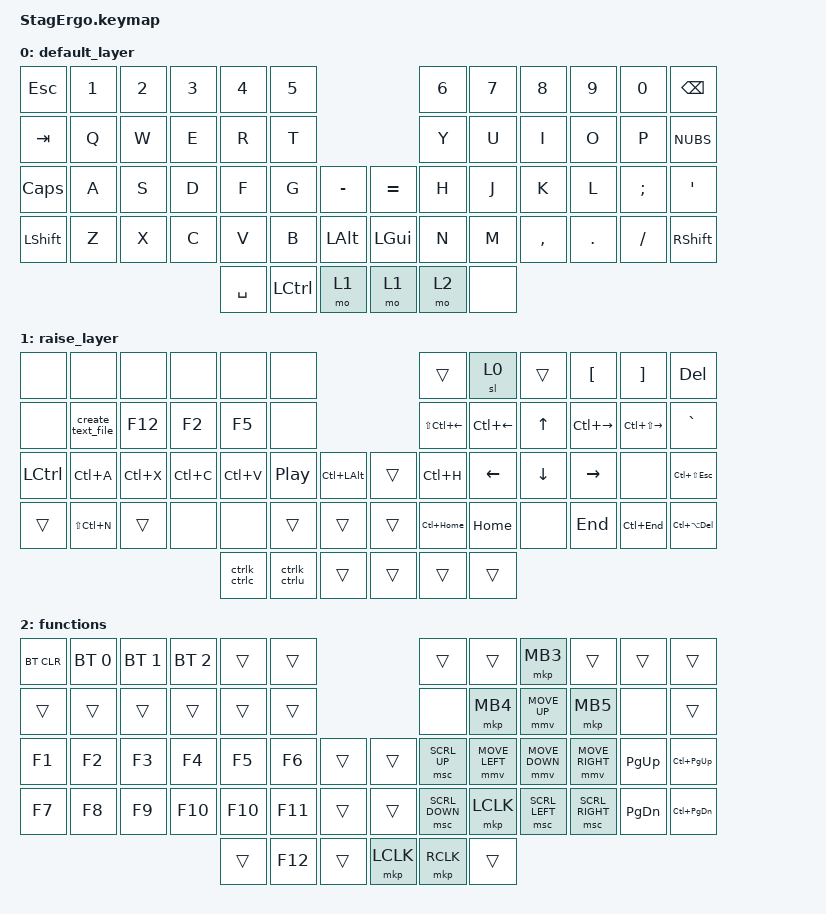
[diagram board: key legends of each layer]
/*
 * Copyright (c) 2020 The ZMK Contributors
 *
 * SPDX-License-Identifier: MIT
 */

#define ZMK_POINTING_DEFAULT_MOVE_VAL 1100
#define ZMK_POINTING_DEFAULT_SCRL_VAL 13

#include <behaviors.dtsi>
#include <dt-bindings/zmk/bt.h>
#include <dt-bindings/zmk/keys.h>
#include <dt-bindings/zmk/pointing.h>

&mmv {
    acceleration-exponent = <1>;
    time-to-max-speed-ms = <1000>;
};

/ {
    combos {
        compatible = "zmk,combos";

        left_enter {
            bindings = <&L2_If_held_otw_ent 2 ENTER>;
            key-positions = <28 27>;
        };

        right_enter_mid {
            bindings = <&kp RET>;
            key-positions = <33 34>;
        };

        altf4 {
            bindings = <&kp LA(F4)>;
            key-positions = <54 27 28>;
        };

        RaiseLayer1 {
            bindings = <&mo 1>;
            key-positions = <43 42>;
        };

        RaiseLayer1_1 {
            bindings = <&mo 1>;
            key-positions = <19 20>;
        };

        right_Space {
            bindings = <&kp SPACE>;
            key-positions = <34 35>;
        };
    };

    macros {
        create_text_file: create_text_file {
            compatible = "zmk,behavior-macro";
            #binding-cells = <0>;
            bindings = <&kp LS(F10) &kp W &kp T>;
            label = "CREATE_TEXT_FILE";
        };

        ctrlk_ctrlc: ctrlk_ctrlc {
            compatible = "zmk,behavior-macro";
            #binding-cells = <0>;
            bindings = <&kp LC(K) &kp LC(C)>;
            label = "CTRLK_CTRLC";
        };
    };

    keymap {
        compatible = "zmk,keymap";

        default_layer {
            // ------------------------------------------------------------------------------------------------------------
            // |  ESC    |  1   |  2    |  3   |  4    |  5       |                    |  6       |  7    |  8      |  9    |   0    |   bsp    |
            // |  TAB    |  Q   |  W    |  E   |  R    |  T       |                    |  Y       |  U    |  I      |  O    |   P    |   \ |    |
            // |  CAPS   |  A   |  S    |  D   |  F    |  G       |   - _   ||  + =    |  H       |  J    |  K      |  L    |   ; :  |   ' "    |
            // | SHIFT   |  Z   |  X    |  C   |  V    |  B       |   ALT   ||  WIN    |  N       |  M    |  , <    |  . >  |   / ?  | SHIFT    |
            //                                 | LOWER | SPACE    |   CTL   || ENTER   | SPACE    |  RAISE|                                     

            bindings = <
&kp ESC    &kp N1  &kp N2  &kp N3  &kp N4     &kp N5                           &kp N6  &kp N7  &kp N8     &kp N9   &kp N0    &kp BSPC
&kp TAB    &kp Q   &kp W   &kp E   &kp R      &kp T                            &kp Y   &kp U   &kp I      &kp O    &kp P     &kp NUBS
&kp CAPS   &kp A   &kp S   &kp D   &kp F      &kp G      &kp MINUS  &kp EQUAL  &kp H   &kp J   &kp K      &kp L    &kp SEMI  &kp SQT
&kp LSHFT  &kp Z   &kp X   &kp C   &kp V      &kp B      &kp LALT   &kp LGUI   &kp N   &kp M   &kp COMMA  &kp DOT  &kp FSLH  &kp RSHFT
                                   &kp SPACE  &kp LCTRL  &mo 1      &mo 1      &mo 2   &none
            >;
        };

        //        lower_layer {
        // ------------------------------------------------------------------------------------------------------------
        // | BTCLR    | BT1        | BT2        |  BT3       |  BT4       |  BT5      |                   |           |         |         |         |         |       |
        // |  F1      |  F2        |  F3        |  F4        |  F5        |  F6       |                   |  F7       |  F8     |  F9     |  F10    |  F11    |  F12  |
        // |   `      |  !         |  @         |  #         |  $         |  %        |        ||         |  ^        |  &      |  *      |  (      |   )     |   ~   |
        // |          |            |            |            |            |           |        ||         |           |  _      |  +      |  {      |   }     |  "|"  |
        //                                                   |            |           |        ||         |           |         |                                        
        //            bindings = <
        //    &bt BT_CLR &bt BT_SEL 0 &bt BT_SEL 1 &bt BT_SEL 2 &bt BT_SEL 3 &bt BT_SEL 4                    &trans    &trans    &trans    &trans    &trans    &trans
        //    &kp F1     &kp F2       &kp F3       &kp F4       &kp F5       &kp F6                          &kp F7    &kp F8    &kp F9    &kp F10   &kp F11   &kp F12
        //    &kp GRAVE  &kp EXCL     &kp AT       &kp HASH     &kp DOLLAR   &kp PRCNT   &trans    &trans    &kp CARET &kp AMPS  &kp ASTRK &kp LPAR  &kp RPAR  &kp TILDE
        //    &trans     &trans       &trans       &trans       &trans       &trans      &trans    &trans    &trans    &kp MINUS &kp PLUS  &kp LBRC  &kp RBRC  &kp PIPE
        //                                                      &trans       &trans      &trans    &trans    &trans    &trans
        //            >;
        //        };

        raise_layer {
            // ------------------------------------------------------------------------------------------------------------
            // | btclr |  btsel0    |  btsel1    |       |       |         |                |           |               |         |                |         |  DELETE |
            // |       |            |            |       |       |         |                |  PG_UP    |   HOME        |   ^     |  END           |   [{    |   }]    |
            // |   F1  |  F2        |  F3        |  F4   |  F5   |  F6     |      | |       |  PG_DN    |   <-          |   v     |  ->            |         |         |
            // |   F7  |  F8        |  F9        |  F10  |  F11  |  F12    |      | |       |           |   LWRD        |         |  RWRD          |         |         |
            //                                           |       |         |      | |       |           |               |                                               

            bindings = <
&none      &none              &none      &none      &none         &none                                       &trans            &sl 0         &trans    &kp LEFT_BRACKET  &kp RIGHT_BRACKET  &kp DEL
&none      &create_text_file  &kp F12    &kp F2     &kp F5        &none                                       &kp LS(LC(LEFT))  &kp LC(LEFT)  &kp UP    &kp LC(RIGHT)     &kp LC(LS(RIGHT))  &kp GRAVE
&kp LCTRL  &kp LC(A)          &kp LC(X)  &kp LC(C)  &kp LC(V)     &kp C_PLAY_PAUSE  &kp LC(LEFT_ALT)  &trans  &kp LC(H)         &kp LEFT      &kp DOWN  &kp RIGHT         &none              &kp LC(LS(ESCAPE))
&trans     &kp LS(LC(N))      &trans     &none      &none         &trans            &trans            &trans  &kp LC(HOME)      &kp HOME      &none     &kp END           &kp LC(END)        &kp LC(LA(DEL))
                                                    &ctrlk_ctrlc  &ctrlk_ctrlu      &trans            &trans  &trans            &trans
            >;
        };

        functions {
            bindings = <
&bt BT_CLR  &bt BT_SEL 0  &bt BT_SEL 1  &bt BT_SEL 2  &trans   &trans                      &trans          &trans          &mkp MB3        &trans           &trans         &trans
&trans      &trans        &trans        &trans        &trans   &trans                      &none           &mkp MB4        &mmv MOVE_UP    &mkp MB5         &none          &trans
&kp F1      &kp F2        &kp F3        &kp F4        &kp F5   &kp F6   &trans  &trans     &msc SCRL_UP    &mmv MOVE_LEFT  &mmv MOVE_DOWN  &mmv MOVE_RIGHT  &kp PAGE_UP    &kp LC(PAGE_UP)
&kp F7      &kp F8        &kp F9        &kp F10       &kp F10  &kp F11  &trans  &trans     &msc SCRL_DOWN  &mkp LCLK       &msc SCRL_LEFT  &msc SCRL_RIGHT  &kp PAGE_DOWN  &kp LC(PAGE_DOWN)
                                                      &trans   &kp F12  &trans  &mkp LCLK  &mkp RCLK       &trans
            >;
        };
    };

    conditional_layers { compatible = "zmk,conditional-layers"; };

    behaviors {
        dual_mo_1_2: dual_mo_1_2 {
            compatible = "zmk,behavior-macro";
            wait-ms = <0>;   /* no delay */
            tap-ms = <0>;   /* not used, but set to 0 for deterministic behavior */
            #binding-cells = <0>;
            bindings =
                <&macro_press>,
                <&mo 1>,
                <&macro_press>,
                <&mo 2>,
                <&macro_pause_for_release>,
                <&macro_release>,
                <&mo 1>,
                <&macro_release>,
                <&mo 2>;
        };

        ctrlk_ctrlu: ctrlk_ctrlu {
            compatible = "zmk,behavior-macro";
            #binding-cells = <0>;
            bindings = <&kp LC(K) &kp LC(U)>;
            label = "CTRLK_CTRLU";
        };

        ul_mouse: ul_mouse {
            compatible = "zmk,behavior-macro";
            #binding-cells = <0>;
            bindings =
                <&macro_press>,
                <&mmv MOVE_UP &mmv MOVE_LEFT>,
                <&macro_pause_for_release>,
                <&macro_release>,
                <&mmv MOVE_UP &mmv MOVE_LEFT>;

            label = "UL_MOUSE";
        };

        ur_mouse: ur_mouse {
            compatible = "zmk,behavior-macro";
            #binding-cells = <0>;
            bindings =
                <&macro_press>,
                <&mmv MOVE_UP &mmv MOVE_RIGHT>,
                <&macro_pause_for_release>,
                <&macro_release>,
                <&mmv MOVE_UP &mmv MOVE_RIGHT>;

            label = "UR_MOUSE";
        };

        L2_If_held_otw_ent: L2_If_held_otw_ent {
            compatible = "zmk,behavior-hold-tap";
            label = "L2_IF_HELD_OTW_ENT";
            #binding-cells = <2>;
            tapping-term-ms = <200>;
            bindings = <&mo>, <&kp>;
        };
    };
};
